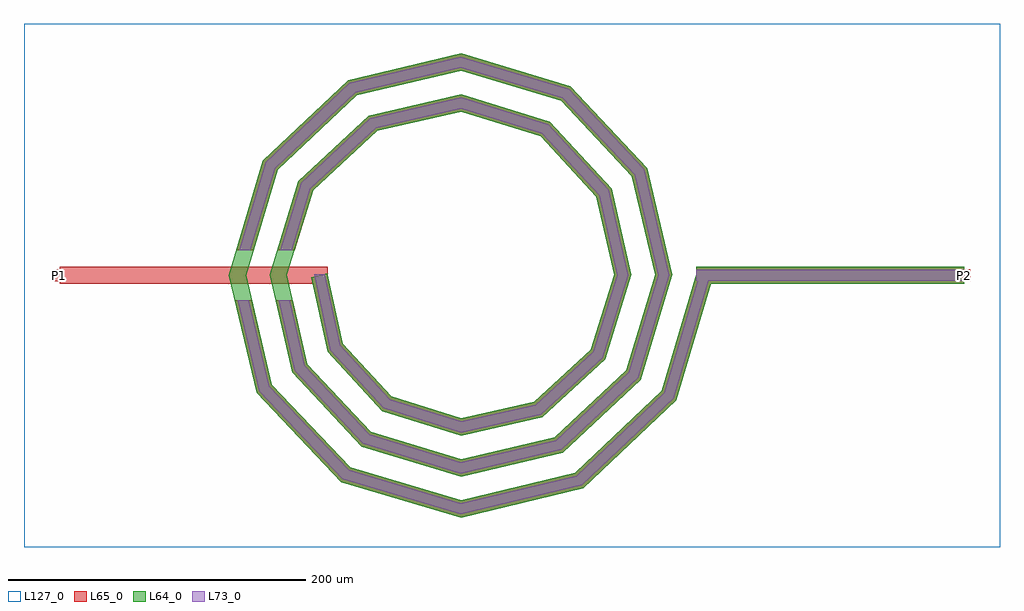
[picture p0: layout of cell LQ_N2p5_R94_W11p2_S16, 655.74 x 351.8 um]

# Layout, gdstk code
import gdstk
lib = gdstk.Library(unit=1e-6, precision=1e-09)
def R(c, l, rs):  # rectangles x0, y0, x1, y1
    for r in rs: c.add(gdstk.rectangle(r[:2], r[2:], *l))
def P(c, l, *ps):  # polygons
    for p in ps: c.add(gdstk.Polygon(p, *l))
L64_0 = (64, 0)
L65_0 = (65, 0)
L73_0 = (73, 0)
L127_0 = (127, 0)

lq_n2p5_r94_w11p2_s16 = lib.new_cell('LQ_N2p5_R94_W11p2_S16')
R(lq_n2p5_r94_w11p2_s16, L64_0, [(158.259,-5.6,338.259,5.6)])
P(lq_n2p5_r94_w11p2_s16, L64_0, [(-79.182,-46.01),(-46.72,-81.419),(0.243,-96.164),(49.434,-85.147),(87.367,-50.173),(103.041,0.228),(91.11,52.86),(53.624,93.316),(0.214,109.919),(-56.288,97.073),(-99.266,57.073),(-116.796,0.202),(-103.035,-59.716),(-60.522,-105.217),(0.192,-123.674),(63.146,-108.996),(111.168,-63.97),(130.552,0.182),(114.957,66.577),(67.416,117.12),(0.173,137.43),(-70.009,120.918),(-123.072,70.862),(-144.308,0.165),(-126.878,-73.441),(-74.308,-129.025),(0.158,-151.185),(76.874,-132.838),(134.978,-77.752),(158.49,1.591),(169.228,-1.591),(144.863,-83.814),(82.4,-143.032),(0.158,-162.777),(-80.381,-138.903),(-137.079,-78.955),(-155.899,0.165),(-132.943,76.948),(-75.509,131.126),(0.173,149.02),(73.516,126.982),(125.174,72.063),(142.142,0.182),(121.021,-70.085),(68.615,-119.222),(0.192,-135.264),(-66.654,-115.059),(-113.27,-65.167),(-128.386,0.202),(-109.096,63.225),(-61.718,107.319),(0.214,121.507),(59.796,103.133),(101.368,58.268),(114.629,0.228),(97.169,-56.369),(54.816,-95.419),(0.243,-107.75),(-52.944,-91.204),(-89.47,-51.362),(-100.547,-1.208),(-89.611,1.208)])
R(lq_n2p5_r94_w11p2_s16, L65_0, [(-269.479,-5.6,-89.479,5.6), (158.259,-5.6,338.259,5.6), (-273.479,-4,-265.479,4), (334.259,-4,342.259,4)])
P(lq_n2p5_r94_w11p2_s16, L65_0, [(-126.878,-73.441),(-74.308,-129.025),(0.158,-151.186),(76.874,-132.838),(134.978,-77.752),(158.49,1.591),(169.228,-1.591),(144.863,-83.814),(82.4,-143.032),(0.158,-162.777),(-80.381,-138.903),(-137.079,-78.955),(-151.863,-16.8),(-140.351,-16.8)],
  [(-103.035,-59.716),(-60.522,-105.217),(0.192,-123.674),(63.146,-108.996),(111.168,-63.97),(130.552,0.182),(114.957,66.577),(67.416,117.12),(0.173,137.43),(-70.009,120.918),(-123.073,70.862),(-139.236,16.8),(-150.925,16.8),(-132.943,76.948),(-75.509,131.126),(0.173,149.02),(73.516,126.982),(125.174,72.063),(142.142,0.182),(121.021,-70.085),(68.615,-119.222),(0.192,-135.264),(-66.654,-115.059),(-113.27,-65.167),(-124.454,-16.8),(-112.959,-16.8)],
  [(-46.72,-81.419),(0.243,-96.164),(49.434,-85.147),(87.367,-50.173),(103.041,0.228),(91.11,52.86),(53.624,93.316),(0.214,109.919),(-56.288,97.073),(-99.266,57.074),(-111.593,16.8),(-123.306,16.8),(-109.096,63.225),(-61.718,107.319),(0.214,121.507),(59.796,103.133),(101.369,58.268),(114.629,0.228),(97.169,-56.369),(54.816,-95.419),(0.243,-107.75),(-52.944,-91.204),(-89.47,-51.362),(-100.547,-1.208),(-89.611,1.208),(-79.182,-46.01)])
R(lq_n2p5_r94_w11p2_s16, L73_0, [(158.259,-3.6,338.259,3.6)])
P(lq_n2p5_r94_w11p2_s16, L73_0, [(-128.7,-74.426),(-75.392,-130.789),(0.102,-153.255),(77.861,-134.659),(136.743,-78.835),(160.408,1.023),(167.311,-1.023),(143.098,-82.732),(81.413,-141.212),(0.102,-160.707),(-79.296,-137.139),(-135.258,-77.97),(-149.808,-16.8),(-142.407,-16.8)],
  [(-104.863,-60.69),(-61.617,-106.975),(0.123,-125.744),(64.123,-110.822),(112.928,-65.061),(132.622,0.117),(116.782,67.557),(68.506,118.881),(0.111,139.5),(-70.991,122.741),(-124.835,71.949),(-141.323,16.8),(-148.838,16.8),(-131.18,75.861),(-74.527,129.303),(0.111,146.951),(72.427,125.221),(123.349,71.083),(140.073,0.117),(119.261,-68.993),(67.639,-117.396),(0.123,-133.194),(-65.559,-113.301),(-111.442,-64.194),(-122.401,-16.8),(-115.011,-16.8)],
  [(-47.832,-83.167),(0.156,-98.233),(50.395,-86.981),(89.118,-51.279),(105.11,0.146),(92.942,53.826),(54.726,95.069),(0.138,111.988),(-57.257,98.903),(-101.022,58.172),(-113.684,16.8),(-121.214,16.8),(-107.341,62.126),(-60.748,105.489),(0.138,119.438),(58.694,101.38),(99.537,57.302),(112.559,0.146),(95.419,-55.263),(53.855,-93.585),(0.156,-105.681),(-51.833,-89.457),(-87.633,-50.406),(-98.594,0.776),(-91.564,0.776),(-81.019,-46.966)])
R(lq_n2p5_r94_w11p2_s16, L127_0, [(-293.479,-182.777,362.259,169.02)])
lq_n2p5_r94_w11p2_s16.add(gdstk.Label('P2', (338.259,0), layer=65, texttype=0))
lq_n2p5_r94_w11p2_s16.add(gdstk.Label('P1', (-269.479,0), layer=65, texttype=0))
lq_n2p5_r94_w11p2_s16.add(gdstk.Label('P2', (342.259,0), layer=145, texttype=0))
lq_n2p5_r94_w11p2_s16.add(gdstk.Label('P1', (-273.479,0), layer=145, texttype=0))

lib.write_gds('LQ_N2p5_R94_W11p2_S16.gds')
